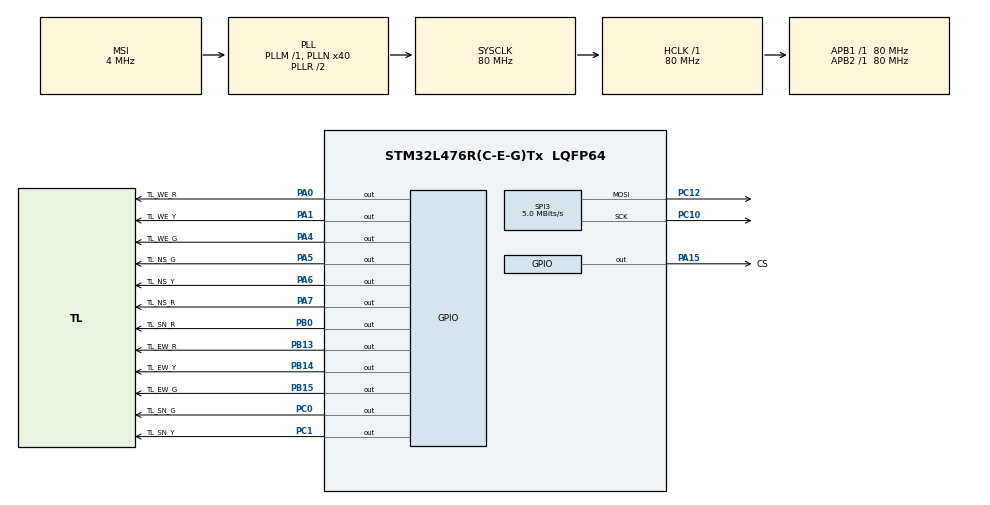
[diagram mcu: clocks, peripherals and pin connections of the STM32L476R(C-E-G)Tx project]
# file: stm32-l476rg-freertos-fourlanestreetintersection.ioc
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FREERTOS.Mutexes01=myMutex01,Dynamic,NULL,Available
FREERTOS.Tasks01=UpdateTLNSState,24,128,StartUpdateTLNSState,Default,NULL,Dynamic,NULL,NULL;UpdateTLEWState,24,128,StartUpdateTLEWState,Default,NULL,Dynamic,NULL,NULL;DisplayTL,24,128,StartDisplayTL,Default,NULL,Dynamic,NULL,NULL;UpdateTF,24,128,StartUpdateTF,Default,NULL,Dynamic,NULL,NULL;DisplayTF,24,128,StartDisplayTF,Default,NULL,Dynamic,NULL,NULL;GenCarsRandomly,24,128,StartGenCarsRandomly,Default,NULL,Dynamic,NULL,NULL
FREERTOS.configTOTAL_HEAP_SIZE=5000
FREERTOS.configUSE_NEWLIB_REENTRANT=1
Mcu.Family=STM32L4
Mcu.Name=STM32L476R(C-E-G)Tx
Mcu.Package=LQFP64
NVIC.PriorityGroup=NVIC_PRIORITYGROUP_4
NVIC.TIM6_DAC_IRQn=true\:15\:0\:false\:false\:true\:false\:false\:true\:true
NVIC.TimeBase=TIM6_DAC_IRQn
NVIC.TimeBaseIP=TIM6
PA0.GPIO_Label=TL_WE_R
PA0.Signal=GPIO_Output
PA1.GPIO_Label=TL_WE_Y
PA1.Signal=GPIO_Output
PA13\ (JTMS-SWDIO).Mode=Trace_Asynchronous_SW
PA13\ (JTMS-SWDIO).Signal=SYS_JTMS-SWDIO
PA14\ (JTCK-SWCLK).Mode=Trace_Asynchronous_SW
PA14\ (JTCK-SWCLK).Signal=SYS_JTCK-SWCLK
PA15\ (JTDI).GPIO_Label=CS
PA15\ (JTDI).Signal=GPIO_Output
PA4.GPIO_Label=TL_WE_G
PA4.Signal=GPIO_Output
PA5.GPIO_Label=TL_NS_G
PA5.Signal=GPIO_Output
PA6.GPIO_Label=TL_NS_Y
PA6.Signal=GPIO_Output
PA7.GPIO_Label=TL_NS_R
PA7.Signal=GPIO_Output
PB0.GPIO_Label=TL_SN_R
PB0.Signal=GPIO_Output
PB13.GPIO_Label=TL_EW_R
PB13.Signal=GPIO_Output
PB14.GPIO_Label=TL_EW_Y
PB14.Signal=GPIO_Output
PB15.GPIO_Label=TL_EW_G
PB15.Signal=GPIO_Output
PB3\ (JTDO-TRACESWO).Mode=Trace_Asynchronous_SW
PB3\ (JTDO-TRACESWO).Signal=SYS_JTDO-SWO
PC0.GPIO_Label=TL_SN_G
PC0.Signal=GPIO_Output
PC1.GPIO_Label=TL_SN_Y
PC1.Signal=GPIO_Output
PC10.Mode=TX_Only_Simplex_Unidirect_Master
PC10.Signal=SPI3_SCK
PC12.Mode=TX_Only_Simplex_Unidirect_Master
PC12.Signal=SPI3_MOSI
PH0-OSC_IN\ (PH0).Mode=HSE-External-Oscillator
PH0-OSC_IN\ (PH0).Signal=RCC_OSC_IN
PH1-OSC_OUT\ (PH1).Mode=HSE-External-Oscillator
PH1-OSC_OUT\ (PH1).Signal=RCC_OSC_OUT
ProjectManager.HeapSize=0x200
ProjectManager.StackSize=0x400
ProjectManager.TargetToolchain=STM32CubeIDE
RCC.ADCFreq_Value=32000000
RCC.AHBFreq_Value=80000000
RCC.APB1Freq_Value=80000000
RCC.APB1TimFreq_Value=80000000
RCC.APB2Freq_Value=80000000
RCC.APB2TimFreq_Value=80000000
RCC.CortexFreq_Value=80000000
RCC.HCLKFreq_Value=80000000
RCC.HSE_VALUE=8000000
RCC.HSI_VALUE=16000000
RCC.LSE_VALUE=32768
RCC.MSI_VALUE=4000000
RCC.PLLN=40
RCC.PLLSAI1N=16
RCC.SYSCLKFreq_VALUE=80000000
RCC.SYSCLKSource=RCC_SYSCLKSOURCE_PLLCLK
RCC.USBFreq_Value=32000000
RCC.VCOOutputFreq_Value=160000000
SPI3.BaudRatePrescaler=SPI_BAUDRATEPRESCALER_16
SPI3.CalculateBaudRate=5.0 MBits/s
SPI3.DataSize=SPI_DATASIZE_8BIT
SPI3.Direction=SPI_DIRECTION_2LINES
SPI3.Mode=SPI_MODE_MASTER
SPI3.VirtualType=VM_MASTER
VP_FREERTOS_VS_CMSIS_V2.Mode=CMSIS_V2
VP_RNG_VS_RNG.Mode=RNG_Activate
VP_SYS_VS_tim6.Mode=TIM6
board=custom

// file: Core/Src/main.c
/* USER CODE BEGIN Header */
/**
  ******************************************************************************
  * @file           : main.c
  * @brief          : Main program body
  ******************************************************************************
  * @attention
  *
  * Copyright (c) 2026 STMicroelectronics.
  * All rights reserved.
  *
  * This software is licensed under terms that can be found in the LICENSE file
  * in the root directory of this software component.
  * If no LICENSE file comes with this software, it is provided AS-IS.
  *
  ******************************************************************************
  */
/* USER CODE END Header */
#include "main.h"
#include "cmsis_os.h"
#include "rng.h"
#include "spi.h"
#include "gpio.h"

/* USER CODE BEGIN Includes */
#include "alt_main.h"
/* USER CODE END Includes */

void SystemClock_Config(void);
void MX_FREERTOS_Init(void);

int main(void)
{

  /* MCU Configuration--------------------------------------------------------*/

  /* Reset of all peripherals, Initializes the Flash interface and the Systick. */
  HAL_Init();

  /* Configure the system clock */
  SystemClock_Config();

  /* Initialize all configured peripherals */
  MX_GPIO_Init();
  MX_SPI3_Init();
  MX_RNG_Init();

  /* Init scheduler */
  osKernelInitialize();  /* Call init function for freertos objects (in cmsis_os2.c) */
  MX_FREERTOS_Init();

  /* Start scheduler */
  osKernelStart();

  /* We should never get here as control is now taken by the scheduler */

  /* Infinite loop */
  /* USER CODE BEGIN WHILE */
  alt_main(); // Contains our super loop, so the while loop below will never be executed

  while (1)
  {
    /* USER CODE END WHILE */

  }
}

void SystemClock_Config(void)
{
  RCC_OscInitTypeDef RCC_OscInitStruct = {0};
  RCC_ClkInitTypeDef RCC_ClkInitStruct = {0};

  /** Configure the main internal regulator output voltage
  */
  if (HAL_PWREx_ControlVoltageScaling(PWR_REGULATOR_VOLTAGE_SCALE1) != HAL_OK)
  {
    Error_Handler();
  }

  /** Initializes the RCC Oscillators according to the specified parameters
  * in the RCC_OscInitTypeDef structure.
  */
  RCC_OscInitStruct.OscillatorType = RCC_OSCILLATORTYPE_MSI;
  RCC_OscInitStruct.MSIState = RCC_MSI_ON;
  RCC_OscInitStruct.MSICalibrationValue = 0;
  RCC_OscInitStruct.MSIClockRange = RCC_MSIRANGE_6;
  RCC_OscInitStruct.PLL.PLLState = RCC_PLL_ON;
  RCC_OscInitStruct.PLL.PLLSource = RCC_PLLSOURCE_MSI;
  RCC_OscInitStruct.PLL.PLLM = 1;
  RCC_OscInitStruct.PLL.PLLN = 40;
  RCC_OscInitStruct.PLL.PLLP = RCC_PLLP_DIV7;
  RCC_OscInitStruct.PLL.PLLQ = RCC_PLLQ_DIV2;
  RCC_OscInitStruct.PLL.PLLR = RCC_PLLR_DIV2;
  if (HAL_RCC_OscConfig(&RCC_OscInitStruct) != HAL_OK)
  {
    Error_Handler();
  }

  /** Initializes the CPU, AHB and APB buses clocks
  */
  RCC_ClkInitStruct.ClockType = RCC_CLOCKTYPE_HCLK|RCC_CLOCKTYPE_SYSCLK
                              |RCC_CLOCKTYPE_PCLK1|RCC_CLOCKTYPE_PCLK2;
  RCC_ClkInitStruct.SYSCLKSource = RCC_SYSCLKSOURCE_PLLCLK;
  RCC_ClkInitStruct.AHBCLKDivider = RCC_SYSCLK_DIV1;
  RCC_ClkInitStruct.APB1CLKDivider = RCC_HCLK_DIV1;
  RCC_ClkInitStruct.APB2CLKDivider = RCC_HCLK_DIV1;

  if (HAL_RCC_ClockConfig(&RCC_ClkInitStruct, FLASH_LATENCY_4) != HAL_OK)
  {
    Error_Handler();
  }
}

void HAL_TIM_PeriodElapsedCallback(TIM_HandleTypeDef *htim)
{
  if (htim->Instance == TIM6)
  {
    HAL_IncTick();
  }
}

void Error_Handler(void)
{
  __disable_irq();
  while (1)
  {
  }
}

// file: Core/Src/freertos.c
/* USER CODE BEGIN Header */
/**
  ******************************************************************************
  * File Name          : freertos.c
  * Description        : Code for freertos applications
  ******************************************************************************
  * @attention
  *
  * Copyright (c) 2026 STMicroelectronics.
  * All rights reserved.
  *
  * This software is licensed under terms that can be found in the LICENSE file
  * in the root directory of this software component.
  * If no LICENSE file comes with this software, it is provided AS-IS.
  *
  ******************************************************************************
  */
/* USER CODE END Header */

#include "FreeRTOS.h"
#include "task.h"
#include "main.h"
#include "cmsis_os.h"

/* USER CODE BEGIN Includes */
#include <stdio.h>
#include <stdlib.h>
#include <MAX7219_GPIO.h>

#include "max7219_SPI.h"
#include "max7219_matrix_SPI.h"

#include "animacion.h"
/* USER CODE END Includes */

/* USER CODE BEGIN Variables */
extern RNG_HandleTypeDef hrng;

const uint32_t redTimeout = 10000;
const uint32_t yellowTimeout = 2000;
const uint32_t greenTimeout = 10000;
const uint32_t updateTrafficFlowTimeout = 400;
const uint32_t displayTrafficLightsTimeout = 1;
const uint32_t displayTrafficFlowTimeout = 1;

typedef enum{
  Red,
  Yellow,
  Green
} lightState;

typedef enum{
  NS,
  SN,
  WE,
  EW
} orientation;

typedef struct{
  orientation ori;
  lightState curState;
  lightState prevState;
} traffic;

typedef struct{
  int pos;
  int timeout;
} carGenerator;

// Shared resources
traffic NST;
traffic EWT;
traffic SNT;
traffic WET;
uint8_t carPositions[] = {
  0x00, 0x00, 0x00, 0x00, 0x00, 0x00, 0x00, 0x00
};

// Globals
carGenerator randomCarGenerator;
uint32_t myRandomNum;
/* USER CODE END Variables */
/* Definitions for UpdateTLNSState */
osThreadId_t UpdateTLNSStateHandle;
const osThreadAttr_t UpdateTLNSState_attributes = {
  .name = "UpdateTLNSState",
  .stack_size = 128 * 4,
  .priority = (osPriority_t) osPriorityNormal,
};
/* Definitions for UpdateTLEWState */
osThreadId_t UpdateTLEWStateHandle;
const osThreadAttr_t UpdateTLEWState_attributes = {
  .name = "UpdateTLEWState",
  .stack_size = 128 * 4,
  .priority = (osPriority_t) osPriorityNormal,
};
/* Definitions for DisplayTL */
osThreadId_t DisplayTLHandle;
const osThreadAttr_t DisplayTL_attributes = {
  .name = "DisplayTL",
  .stack_size = 128 * 4,
  .priority = (osPriority_t) osPriorityNormal,
};
/* Definitions for UpdateTF */
osThreadId_t UpdateTFHandle;
const osThreadAttr_t UpdateTF_attributes = {
  .name = "UpdateTF",
  .stack_size = 128 * 4,
  .priority = (osPriority_t) osPriorityNormal,
};
/* Definitions for DisplayTF */
osThreadId_t DisplayTFHandle;
const osThreadAttr_t DisplayTF_attributes = {
  .name = "DisplayTF",
  .stack_size = 128 * 4,
  .priority = (osPriority_t) osPriorityNormal,
};
/* Definitions for GenCarsRandomly */
osThreadId_t GenCarsRandomlyHandle;
const osThreadAttr_t GenCarsRandomly_attributes = {
  .name = "GenCarsRandomly",
  .stack_size = 128 * 4,
  .priority = (osPriority_t) osPriorityNormal,
};
/* Definitions for myMutex01 */
osMutexId_t myMutex01Handle;
const osMutexAttr_t myMutex01_attributes = {
  .name = "myMutex01"
};

/* USER CODE BEGIN FunctionPrototypes */
void updateTrafficLightState(traffic* inputTrafficLight);
uint32_t getDelayUpdateTrafficLightState(traffic inputTrafficLight);
void displayTrafficLight(traffic inputTrafficLight);
void updateCarOnRoadWhileNotGreen(uint8_t* initialFirstTraffic, uint8_t* initialSecondTraffic);
void updateCarOnRoad(uint8_t* initialFirstTraffic, uint8_t* initialSecondTraffic, traffic inputTrafficLight);
/* USER CODE END FunctionPrototypes */

void StartUpdateTLNSState(void *argument);
void StartUpdateTLEWState(void *argument);
void StartDisplayTL(void *argument);
void StartUpdateTF(void *argument);
void StartDisplayTF(void *argument);
void StartGenCarsRandomly(void *argument);

void MX_FREERTOS_Init(void); /* (MISRA C 2004 rule 8.1) */

void MX_FREERTOS_Init(void) {
  /* USER CODE BEGIN Init */
  // Init traffic light
  NST.ori = NS;
  NST.prevState = Yellow;
  NST.curState = Green;
  EWT.ori = EW;
  EWT.prevState = Yellow;
  EWT.curState = Red;
  SNT.ori = SN;
  SNT.prevState = Yellow;
  SNT.curState = Green;
  WET.ori = WE;
  WET.prevState = Yellow;
  WET.curState = Red;

  srand(HAL_GetTick()); // Use system time as a simple seed
  /* USER CODE END Init */
  /* Create the mutex(es) */
  /* creation of myMutex01 */
  myMutex01Handle = osMutexNew(&myMutex01_attributes);

  /* Create the thread(s) */
  /* creation of UpdateTLNSState */
  UpdateTLNSStateHandle = osThreadNew(StartUpdateTLNSState, NULL, &UpdateTLNSState_attributes);

  /* creation of UpdateTLEWState */
  UpdateTLEWStateHandle = osThreadNew(StartUpdateTLEWState, NULL, &UpdateTLEWState_attributes);

  /* creation of DisplayTL */
  DisplayTLHandle = osThreadNew(StartDisplayTL, NULL, &DisplayTL_attributes);

  /* creation of UpdateTF */
  UpdateTFHandle = osThreadNew(StartUpdateTF, NULL, &UpdateTF_attributes);

  /* creation of DisplayTF */
  DisplayTFHandle = osThreadNew(StartDisplayTF, NULL, &DisplayTF_attributes);

  /* creation of GenCarsRandomly */
  GenCarsRandomlyHandle = osThreadNew(StartGenCarsRandomly, NULL, &GenCarsRandomly_attributes);

}

void StartUpdateTLNSState(void *argument)
{
  /* USER CODE BEGIN StartUpdateTLNSState */
  /* Infinite loop */
  for(;;)
  {
//    printf("StartUpdateTLNSState b = %d\n", NST.curState);
    updateTrafficLightState(&NST);
    updateTrafficLightState(&SNT);
    uint32_t delayValue = getDelayUpdateTrafficLightState(NST);
//    printf("StartUpdateTLNSState a = %d %lu\n", NST.curState, delayValue);
	osDelay(delayValue);
  }
  /* USER CODE END StartUpdateTLNSState */
}

void StartUpdateTLEWState(void *argument)
{
  /* USER CODE BEGIN StartUpdateTLEWState */
  /* Infinite loop */
  for(;;)
  {
//    printf("StartUpdateTLEWState b = %d\n", EWT.curState);
	updateTrafficLightState(&EWT);
	updateTrafficLightState(&WET);
	uint32_t delayValue = getDelayUpdateTrafficLightState(EWT);
//    printf("StartUpdateTLEWState a = %d %lu\n", EWT.curState, delayValue);
	osDelay(delayValue);

  }
  /* USER CODE END StartUpdateTLEWState */
}

void StartDisplayTL(void *argument)
{
  /* USER CODE BEGIN StartDisplayTL */
  /* Infinite loop */
  for(;;)
  {
    displayTrafficLight(NST);
	displayTrafficLight(EWT);
	displayTrafficLight(SNT);
	displayTrafficLight(WET);
	osDelay(displayTrafficLightsTimeout);
  }
  /* USER CODE END StartDisplayTL */
}

void StartUpdateTF(void *argument)
{
  /* USER CODE BEGIN StartUpdateTF */
  /* Infinite loop */
  for(;;)
  {
    if (osMutexAcquire(myMutex01Handle, 0) == osOK) {
//    	printf("StartUpdateTF\n");
    	// Critical section
		uint8_t updatedNorthSouth = ((carPositions[0] & 0x08) << 4) | ((carPositions[1] & 0x08) << 3) | ((carPositions[2] & 0x08) << 2) | ((carPositions[3] & 0x08) << 1) |
	    (carPositions[4] & 0x08) | ((carPositions[5] & 0x08) >> 1) | ((carPositions[6] & 0x08) >> 2) | ((carPositions[7] & 0x08) >> 3);
		uint8_t updatedSouthNorth = ((carPositions[0] & 0x10) << 3) | ((carPositions[1] & 0x10) << 2) | ((carPositions[2] & 0x10) << 1) | (carPositions[3] & 0x10) |
	    ((carPositions[4] & 0x10) >> 1) | ((carPositions[5] & 0x10) >> 2) | ((carPositions[6] & 0x10) >> 3) | ((carPositions[7] & 0x10) >> 4);
		uint8_t updatedWestEast = carPositions[3];
		uint8_t updatedEastWest = carPositions[4];
//		printf("Data NS Before 0x%x SN 0x%x WE 0x%x EW 0x%x\n", updatedNorthSouth, updatedSouthNorth, updatedWestEast, updatedEastWest);

		updateCarOnRoad(&updatedNorthSouth, &updatedSouthNorth, NST);
		updateCarOnRoad(&updatedWestEast, &updatedEastWest, EWT);
//		printf("Data NS After 0x%x SN 0x%x WE 0x%x EW 0x%x\n", updatedNorthSouth, updatedSouthNorth, updatedWestEast, updatedEastWest);

		for (int i = 0; i < 8; i++) {   // update 8 column
			uint8_t movingVertically = (((updatedNorthSouth >> (7-i)) & 1) << 3) | (((updatedSouthNorth >> (7-i)) & 1) << 4);
			if (i == 3) {
			  carPositions[i] = updatedWestEast | movingVertically;
			}
			else if (i == 4) {
			  carPositions[i] = updatedEastWest | movingVertically;
			}
			else {
			  carPositions[i] = movingVertically;
			}
		}
		// Give mutex after critical section
		osMutexRelease(myMutex01Handle);
		osDelay(updateTrafficFlowTimeout);
	}
	else {
//		printf("StartUpdateTF: mutex taken\n");
	}

  }
  /* USER CODE END StartUpdateTF */
}

void StartDisplayTF(void *argument)
{
  /* USER CODE BEGIN StartDisplayTF */
  /* Infinite loop */
  for(;;)
  {
    MAX7219_MatrixSetRow(0, carPositions);
	MAX7219_MatrixUpdate();
	osDelay(displayTrafficFlowTimeout);
  }
  /* USER CODE END StartDisplayTF */
}

void StartGenCarsRandomly(void *argument)
{
  /* USER CODE BEGIN StartGenCarsRandomly */
  /* Infinite loop */
  for(;;)
  {
    if (osMutexAcquire(myMutex01Handle, 0) == osOK) {
		HAL_RNG_GenerateRandomNumber(&hrng, &myRandomNum);
		randomCarGenerator.pos = myRandomNum%16;
//		printf("Random Pos %d\n", randomCarGenerator.ori);
		for (int i = 0; i < 4; i++) {
			bool isCarAdded = ((randomCarGenerator.pos >> (3-i)) & 1);
			if (i == 0) {// Add car from north
			  bool isRearEmpty = !((carPositions[0] & 0x08) >> 3);
			  if (isCarAdded && isRearEmpty) {
				carPositions[0] |= 0x08;
//				printf("Added N\n");
			  }
			}
			else if (i == 1) {// Add car from south
			  bool isRearEmpty = !((carPositions[7] & 0x10) >> 4);
			  if (isCarAdded && isRearEmpty) {
				carPositions[7] |= 0x10;
//				printf("Added S\n");
			  }
			}
			else if (i == 2) {// Add car from west
			  bool isRearEmpty = !((carPositions[3] & 0x80) >> 7);
			  if (isCarAdded && isRearEmpty) {
				carPositions[3] |= 0x80;
//				printf("Added W\n");
			  }
			}
			else { // Add car from east
			  bool isRearEmpty = !(carPositions[4] & 0x01);
			  if (isCarAdded && isRearEmpty) {
				carPositions[4] |= 0x01;
//				printf("Added E\n");
			  }
			}
		}
		HAL_RNG_GenerateRandomNumber(&hrng, &myRandomNum);
		randomCarGenerator.timeout = myRandomNum%7000 + 1000;
//		printf("Random Timeout %d\n", randomCarGenerator.timeout);
		// Give mutex after critical section
		osMutexRelease(myMutex01Handle);
		osDelay(randomCarGenerator.timeout);
	}
	else {
//    	printf("StartGenCarsRandomly: mutex taken\n");
	}
  }
  /* USER CODE END StartGenCarsRandomly */
}

/* USER CODE BEGIN Application */
int _write(int file, char *ptr, int len)
{
  (void)file;
  int DataIdx;

  for (DataIdx = 0; DataIdx < len; DataIdx++)
  {
    //__io_putchar(*ptr++);
	  ITM_SendChar(*ptr++);
  }
  return len;
}

void updateTrafficLightState(traffic* inputTrafficLight){

  if (inputTrafficLight->curState == Red)
  {
    inputTrafficLight->prevState = inputTrafficLight->curState;
    inputTrafficLight->curState = Yellow;
    printf("updateTrafficLightState Red = %d %d\n", inputTrafficLight->prevState, inputTrafficLight->curState);
  }
  else if (inputTrafficLight->curState == Yellow)
  {
    if (inputTrafficLight->prevState == Red)
    {
      inputTrafficLight->prevState = inputTrafficLight->curState;
      inputTrafficLight->curState = Green;
      printf("updateTrafficLightState Yellow pR = %d %d\n", inputTrafficLight->prevState, inputTrafficLight->curState);
    }
    else
    {
      inputTrafficLight->prevState = inputTrafficLight->curState;
      inputTrafficLight->curState = Red;
      printf("updateTrafficLightState Yellow pG = %d %d\n", inputTrafficLight->prevState, inputTrafficLight->curState);
    }
  }
  else // Green
  {
    inputTrafficLight->prevState = inputTrafficLight->curState;
    inputTrafficLight->curState = Yellow;
    printf("updateTrafficLightState Green = %d %d\n", inputTrafficLight->prevState, inputTrafficLight->curState);
  }
}

uint32_t getDelayUpdateTrafficLightState(traffic inputTrafficLight) {

  uint32_t delayUpdate;
  if (inputTrafficLight.curState == Red) {
    delayUpdate = redTimeout;
  }
  else if (inputTrafficLight.curState == Yellow) {
    delayUpdate = yellowTimeout;
  }
  else { // Green
    delayUpdate = greenTimeout;
  }

  return delayUpdate;
}

void displayTrafficLight(traffic inputTrafficLight) {
  GPIO_TypeDef* R_GPIO_PORT = TL_NS_R_GPIO_Port;
  uint16_t R_PIN = TL_NS_R_Pin;
  GPIO_TypeDef* Y_GPIO_PORT = TL_NS_Y_GPIO_Port;
  uint16_t Y_PIN = TL_NS_Y_Pin;
  GPIO_TypeDef* G_GPIO_PORT = TL_NS_G_GPIO_Port;
  uint16_t G_PIN = TL_NS_G_Pin;
  if (inputTrafficLight.ori == EW) {
	  R_GPIO_PORT = TL_EW_R_GPIO_Port;
	  R_PIN = TL_EW_R_Pin;
	  Y_GPIO_PORT = TL_EW_Y_GPIO_Port;
	  Y_PIN = TL_EW_Y_Pin;
	  G_GPIO_PORT = TL_EW_G_GPIO_Port;
	  G_PIN = TL_EW_G_Pin;
  } else if (inputTrafficLight.ori == SN) {
	  R_GPIO_PORT = TL_SN_R_GPIO_Port;
	  R_PIN = TL_SN_R_Pin;
	  Y_GPIO_PORT = TL_SN_Y_GPIO_Port;
	  Y_PIN = TL_SN_Y_Pin;
	  G_GPIO_PORT = TL_SN_G_GPIO_Port;
	  G_PIN = TL_SN_G_Pin;
  } else if (inputTrafficLight.ori == WE) {
	  R_GPIO_PORT = TL_WE_R_GPIO_Port;
	  R_PIN = TL_WE_R_Pin;
	  Y_GPIO_PORT = TL_WE_Y_GPIO_Port;
	  Y_PIN = TL_WE_Y_Pin;
	  G_GPIO_PORT = TL_WE_G_GPIO_Port;
	  G_PIN = TL_WE_G_Pin;
  }

  if (inputTrafficLight.curState == Red){
    HAL_GPIO_WritePin(R_GPIO_PORT, R_PIN, GPIO_PIN_SET); // LED ON
	HAL_GPIO_WritePin(Y_GPIO_PORT, Y_PIN, GPIO_PIN_RESET); // LED OFF
	HAL_GPIO_WritePin(G_GPIO_PORT, G_PIN, GPIO_PIN_RESET); // LED OFF
  }
  else if (inputTrafficLight.curState == Yellow)
  {
    if (inputTrafficLight.prevState == Red)
    {
    	HAL_GPIO_WritePin(R_GPIO_PORT, R_PIN, GPIO_PIN_SET); // LED ON
    }
    else
    {
      HAL_GPIO_WritePin(R_GPIO_PORT, R_PIN, GPIO_PIN_RESET); // LED OFF
    }
    HAL_GPIO_WritePin(Y_GPIO_PORT, Y_PIN, GPIO_PIN_SET); // LED ON
    HAL_GPIO_WritePin(G_GPIO_PORT, G_PIN, GPIO_PIN_RESET); // LED OFF
  }
  else // Green
  {
    HAL_GPIO_WritePin(R_GPIO_PORT, R_PIN, GPIO_PIN_RESET); // LED OFF
	HAL_GPIO_WritePin(Y_GPIO_PORT, Y_PIN, GPIO_PIN_RESET); // LED OFF
	HAL_GPIO_WritePin(G_GPIO_PORT, G_PIN, GPIO_PIN_SET); // LED ON
  }
}

void updateCarOnRoadWhileNotGreen(uint8_t* initialFirstTraffic, uint8_t* initialSecondTraffic) {
  // First direction
  *initialFirstTraffic >>= 1;
  uint8_t halfRear = (*initialFirstTraffic & 0xF0) >> 4;
  uint8_t halfFront = *initialFirstTraffic & 0x0F;
  if ((halfRear & 1) != 0)
  {
      if ((halfRear & 0x0E) == 0x04)
      {
        halfRear = 0x04 | 0x02;
      }
      else
      {
        halfRear = ((halfRear & 0x0E) << 1) | 0x02;
      }
  }
  *initialFirstTraffic = (halfRear << 4) | halfFront;

  // Second direction
  *initialSecondTraffic <<= 1;
  halfRear = (*initialSecondTraffic & 0xF0) >> 4;
  halfFront = *initialSecondTraffic & 0x0F;
  if ((halfFront & 8) != 0)
  {
      if ((halfFront & 0x07) == 0x02)
      {
        halfFront = 0x04 | 0x02;
      }
      else
      {
        halfFront = 0x04 | ((halfFront & 0x07) >> 1);
      }
  }
  *initialSecondTraffic = (halfRear << 4) | halfFront;
}

void updateCarOnRoad(uint8_t* initialFirstTraffic, uint8_t* initialSecondTraffic, traffic inputTrafficLight) {

  if (inputTrafficLight.curState == Green)
  {
//    printf("updateCarOnRoad Green b 0x%x 0x%x\n", *initialFirstTraffic, *initialSecondTraffic);
    *initialFirstTraffic >>= 1;
    *initialSecondTraffic <<= 1;
//    printf("updateCarOnRoad Green a 0x%x 0x%x\n", *initialFirstTraffic, *initialSecondTraffic);
  }
  else if (inputTrafficLight.curState == Yellow && inputTrafficLight.prevState == Green)
  {
    updateCarOnRoadWhileNotGreen(initialFirstTraffic, initialSecondTraffic);
  }
  else
  {
//    printf("updateCarOnRoad Red b 0x%x 0x%x\n", *initialFirstTraffic, *initialSecondTraffic);
    *initialFirstTraffic &= 0xE7;
    *initialSecondTraffic &= 0xE7;
//    printf("updateCarOnRoad Red a 0x%x 0x%x\n", *initialFirstTraffic, *initialSecondTraffic);
    updateCarOnRoadWhileNotGreen(initialFirstTraffic, initialSecondTraffic);
  }
}
/* USER CODE END Application */
